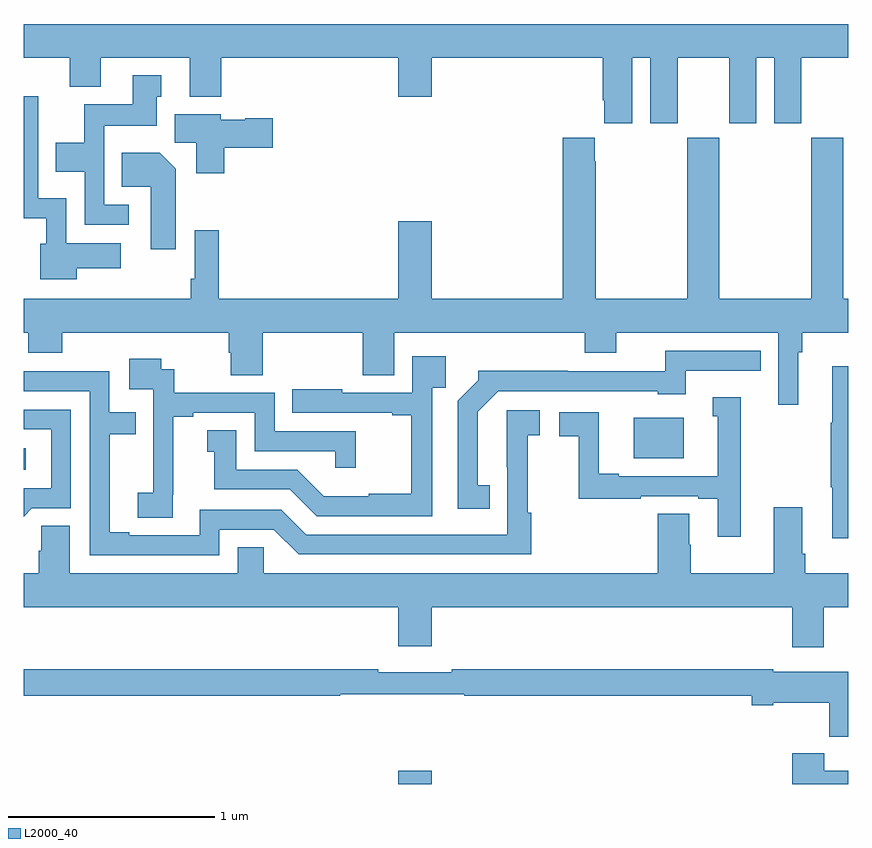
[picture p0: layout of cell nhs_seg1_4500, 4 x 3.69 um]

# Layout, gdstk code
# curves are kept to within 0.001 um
import gdstk
lib = gdstk.Library(unit=1e-6, precision=1e-09)
def R(c, l, rs):  # rectangles x0, y0, x1, y1
    for r in rs: c.add(gdstk.rectangle(r[:2], r[2:], *l))
def P(c, l, *ps):  # polygons
    for p in ps: c.add(gdstk.Polygon(p, *l))
L2000_40 = (2000, 40)

nhs_seg1_4500 = lib.new_cell('nhs_seg1_4500')
R(nhs_seg1_4500, L2000_40, [(356.816,560.199,356.98,560.263), (355,561.722,355.012,561.826), (357.959,561.779,358.201,561.976)])
P(nhs_seg1_4500, L2000_40, [(357.952,563.72),(358.04,563.72),(358.04,563.403),(358.171,563.403),(358.171,563.72),(358.421,563.72),(358.421,563.403),(358.552,563.403),(358.552,563.72),(358.64,563.72),(358.64,563.403),(358.771,563.403),(358.771,563.72),(359,563.72),(359,563.884),(355,563.884),(355,563.72),(355.223,563.72),(355.223,563.579),(355.375,563.579),(355.375,563.72),(355.805,563.72),(355.805,563.531),(355.958,563.531),(355.958,563.72),(356.816,563.72),(356.816,563.532),(356.98,563.532),(356.98,563.72),(357.809,563.72),(357.809,563.515),(357.815,563.515),(357.815,563.403),(357.952,563.403)],
  [(355.51,563.007),(355.392,563.007),(355.392,563.39),(355.645,563.39),(355.645,563.532),(355.669,563.532),(355.669,563.635),(355.529,563.635),(355.529,563.494),(355.294,563.494),(355.294,563.308),(355.157,563.308),(355.157,563.168),(355.296,563.168),(355.296,562.911),(355.51,562.911)],
  [(355.259,562.7),(355.471,562.7),(355.471,562.822),(355.206,562.822),(355.206,563.038),(355.072,563.038),(355.072,563.533),(355,563.533),(355,562.941),(355.11,562.941),(355.11,562.818),(355.082,562.818),(355.082,562.646),(355.259,562.646)],
  [(355.973,563.285),(356.209,563.285),(356.209,563.427),(356.076,563.427),(356.076,563.419),(355.956,563.419),(355.956,563.446),(355.733,563.446),(355.733,563.308),(355.838,563.308),(355.838,563.16),(355.973,563.16)],
  [(355.946,562.885),(355.83,562.885),(355.83,562.648),(355.81,562.648),(355.81,562.552),(355,562.552),(355,562.388),(355.022,562.388),(355.022,562.289),(355.187,562.289),(355.187,562.388),(355.994,562.388),(355.994,562.29),(356.006,562.29),(356.006,562.18),(356.159,562.18),(356.159,562.388),(356.645,562.388),(356.645,562.18),(356.797,562.18),(356.797,562.388),(357.722,562.388),(357.722,562.289),(357.874,562.289),(357.874,562.388),(358.659,562.388),(358.659,562.038),(358.756,562.038),(358.756,562.292),(358.775,562.292),(358.775,562.388),(359,562.388),(359,562.552),(358.974,562.552),(358.974,563.332),(358.819,563.332),(358.819,562.552),(358.374,562.552),(358.374,563.332),(358.219,563.332),(358.219,562.552),(357.774,562.552),(357.774,563.219),(357.769,563.219),(357.769,563.332),(357.614,563.332),(357.614,562.552),(356.98,562.552),(356.98,562.927),(356.816,562.927),(356.816,562.552),(355.946,562.552)],
  [(355.738,563.182),(355.66,563.26),(355.477,563.26),(355.477,563.096),(355.616,563.096),(355.616,562.791),(355.738,562.791)],
  [(357.26,561.647),(357.202,561.647),(357.202,562.003),(357.303,562.104),(358.074,562.104),(358.074,562.088),(358.21,562.088),(358.21,562.203),(358.574,562.203),(358.574,562.299),(358.111,562.299),(358.111,562.2),(357.638,562.2),(357.638,562.202),(357.204,562.202),(357.204,562.157),(357.105,562.058),(357.105,561.534),(357.26,561.534)],
  [(356.982,562.121),(357.047,562.121),(357.047,562.273),(356.886,562.273),(356.886,562.095),(356.545,562.095),(356.545,562.114),(356.302,562.114),(356.302,561.999),(356.789,561.999),(356.789,561.987),(356.881,561.987),(356.881,561.607),(356.675,561.607),(356.675,561.595),(356.456,561.595),(356.328,561.723),(356.032,561.723),(356.032,561.914),(355.892,561.914),(355.892,561.811),(355.925,561.811),(355.925,561.627),(356.292,561.627),(356.421,561.498),(356.982,561.498)],
  [(355.724,561.601),(355.726,561.601),(355.726,561.979),(355.822,561.979),(355.822,561.999),(356.121,561.999),(356.121,561.813),(356.511,561.813),(356.511,561.732),(356.612,561.732),(356.612,561.909),(356.217,561.909),(356.217,562.095),(355.73,562.095),(355.73,562.209),(355.668,562.209),(355.668,562.261),(355.512,562.261),(355.512,562.113),(355.629,562.113),(355.629,561.809),(355.628,561.809),(355.628,561.612),(355.554,561.612),(355.554,561.49),(355.724,561.49)],
  [(359,562.225),(358.922,562.225),(358.922,561.95),(358.915,561.95),(358.915,561.639),(358.922,561.639),(358.922,561.39),(359,561.39)],
  [(355.95,561.432),(356.214,561.432),(356.334,561.312),(357.461,561.312),(357.461,561.515),(357.444,561.515),(357.444,561.891),(357.502,561.891),(357.502,562.012),(357.344,562.012),(357.345,561.408),(356.37,561.408),(356.25,561.528),(355.854,561.528),(355.854,561.405),(355.513,561.405),(355.513,561.42),(355.417,561.42),(355.417,561.894),(355.544,561.894),(355.544,562.002),(355.416,562.002),(355.416,562.2),(355,562.2),(355,562.104),(355.32,562.104),(355.32,561.309),(355.95,561.309)],
  [(358.477,562.075),(358.343,562.075),(358.343,561.981),(358.367,561.981),(358.367,561.69),(357.886,561.69),(357.886,561.703),(357.79,561.703),(357.79,562.002),(357.597,562.002),(357.597,561.886),(357.691,561.886),(357.691,561.582),(357.992,561.582),(357.992,561.594),(358.271,561.594),(358.271,561.582),(358.367,561.582),(358.367,561.399),(358.477,561.399)],
  [(355.041,561.537),(355.23,561.537),(355.23,562.014),(355,562.014),(355,561.918),(355.134,561.918),(355.134,561.633),(355,561.633),(355,561.496)],
  [(356.166,561.347),(356.039,561.347),(356.039,561.22),(355.225,561.22),(355.225,561.452),(355.086,561.452),(355.086,561.329),(355.073,561.329),(355.073,561.22),(355,561.22),(355,561.056),(356.816,561.056),(356.816,560.868),(356.98,560.868),(356.98,561.056),(358.727,561.056),(358.727,560.862),(358.879,560.862),(358.879,561.056),(359,561.056),(359,561.22),(358.79,561.22),(358.79,561.316),(358.777,561.316),(358.777,561.541),(358.637,561.541),(358.637,561.22),(358.236,561.22),(358.236,561.359),(358.228,561.359),(358.228,561.509),(358.076,561.509),(358.076,561.22),(356.166,561.22)],
  [(359,560.743),(358.636,560.743),(358.636,560.755),(357.076,560.755),(357.076,560.742),(356.72,560.742),(356.72,560.755),(355,560.755),(355,560.626),(356.536,560.626),(356.536,560.634),(357.136,560.634),(357.136,560.626),(358.532,560.626),(358.532,560.582),(358.636,560.582),(358.636,560.594),(358.906,560.594),(358.906,560.429),(359,560.429)],
  [(359,560.263),(358.882,560.263),(358.882,560.347),(358.727,560.347),(358.727,560.199),(359,560.199)])

lib.write_gds('nhs_seg1_4500.gds')
